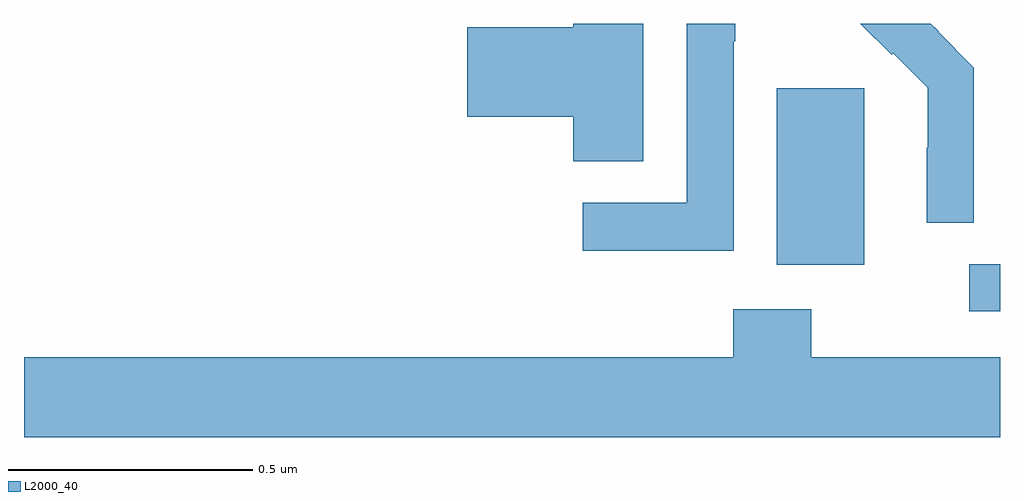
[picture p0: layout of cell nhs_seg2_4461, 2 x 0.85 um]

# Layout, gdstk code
import gdstk
lib = gdstk.Library(unit=1e-6, precision=1e-09)
def R(c, l, rs):  # rectangles x0, y0, x1, y1
    for r in rs: c.add(gdstk.rectangle(r[:2], r[2:], *l))
def P(c, l, *ps):  # polygons
    for p in ps: c.add(gdstk.Polygon(p, *l))
L2000_40 = (2000, 40)

nhs_seg2_4461 = lib.new_cell('nhs_seg2_4461')
R(nhs_seg2_4461, L2000_40, [(167.937,665.211,168,665.307), (167.543,665.306,167.722,665.667)])
P(nhs_seg2_4461, L2000_40, [(167.269,665.8),(167.126,665.8),(167.126,665.792),(166.908,665.792),(166.908,665.609),(167.126,665.609),(167.126,665.518),(167.269,665.518)],
  [(167.454,665.764),(167.457,665.764),(167.457,665.8),(167.358,665.8),(167.358,665.433),(167.145,665.433),(167.145,665.335),(167.454,665.335)],
  [(167.946,665.71),(167.873,665.783),(167.874,665.784),(167.858,665.8),(167.714,665.8),(167.778,665.736),(167.781,665.739),(167.852,665.669),(167.852,665.546),(167.85,665.546),(167.85,665.392),(167.946,665.392)],
  [(168,665.116),(167.613,665.116),(167.613,665.215),(167.453,665.215),(167.453,665.116),(166,665.116),(166,664.952),(168,664.952)])

lib.write_gds('nhs_seg2_4461.gds')
